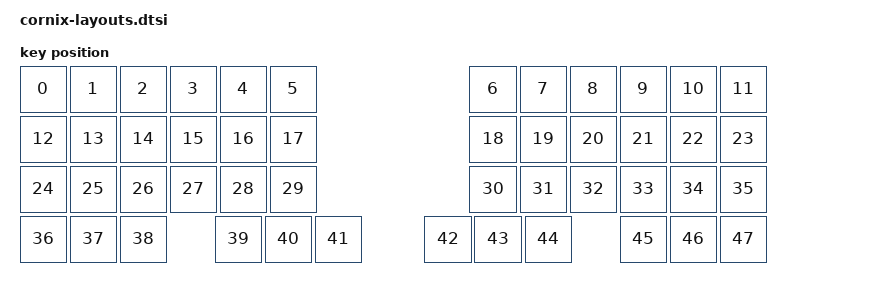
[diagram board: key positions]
#include <physical_layouts.dtsi>

/ {
    layout_0: layout_0 {
        compatible = "zmk,physical-layout";
        display-name = "LAYOUT";

        // leave for shields to select kscan
        // kscan = <&kscan0>;
        transform = <&default_transform>;

keys  //                     w   h    x    y     rot    rx    ry
            = <&key_physical_attrs 100 100    0    0       0     0     0>
            , <&key_physical_attrs 100 100  100    0       0     0     0>
            , <&key_physical_attrs 100 100  200    0       0     0     0>
            , <&key_physical_attrs 100 100  300    0       0     0     0>
            , <&key_physical_attrs 100 100  400    0       0     0     0>
            , <&key_physical_attrs 100 100  500    0       0     0     0>
            , <&key_physical_attrs 100 100  900    0       0     0     0>
            , <&key_physical_attrs 100 100 1000    0       0     0     0>
            , <&key_physical_attrs 100 100 1100    0       0     0     0>
            , <&key_physical_attrs 100 100 1200    0       0     0     0>
            , <&key_physical_attrs 100 100 1300    0       0     0     0>
            , <&key_physical_attrs 100 100 1400    0       0     0     0>
            , <&key_physical_attrs 100 100    0  100       0     0     0>
            , <&key_physical_attrs 100 100  100  100       0     0     0>
            , <&key_physical_attrs 100 100  200  100       0     0     0>
            , <&key_physical_attrs 100 100  300  100       0     0     0>
            , <&key_physical_attrs 100 100  400  100       0     0     0>
            , <&key_physical_attrs 100 100  500  100       0     0     0>
            , <&key_physical_attrs 100 100  900  100       0     0     0>
            , <&key_physical_attrs 100 100 1000  100       0     0     0>
            , <&key_physical_attrs 100 100 1100  100       0     0     0>
            , <&key_physical_attrs 100 100 1200  100       0     0     0>
            , <&key_physical_attrs 100 100 1300  100       0     0     0>
            , <&key_physical_attrs 100 100 1400  100       0     0     0>
            , <&key_physical_attrs 100 100    0  200       0     0     0>
            , <&key_physical_attrs 100 100  100  200       0     0     0>
            , <&key_physical_attrs 100 100  200  200       0     0     0>
            , <&key_physical_attrs 100 100  300  200       0     0     0>
            , <&key_physical_attrs 100 100  400  200       0     0     0>
            , <&key_physical_attrs 100 100  500  200       0     0     0>
            , <&key_physical_attrs 100 100  900  200       0     0     0>
            , <&key_physical_attrs 100 100 1000  200       0     0     0>
            , <&key_physical_attrs 100 100 1100  200       0     0     0>
            , <&key_physical_attrs 100 100 1200  200       0     0     0>
            , <&key_physical_attrs 100 100 1300  200       0     0     0>
            , <&key_physical_attrs 100 100 1400  200       0     0     0>
            , <&key_physical_attrs 100 100    0  300       0     0     0>
            , <&key_physical_attrs 100 100  100  300       0     0     0>
            , <&key_physical_attrs 100 100  200  300       0     0     0>
            , <&key_physical_attrs 100 100  390  300       0     0     0>
            , <&key_physical_attrs 100 100  490  300       0     0     0>
            , <&key_physical_attrs 100 100  590  300       0     0     0>
            , <&key_physical_attrs 100 100  810  300       0     0     0>
            , <&key_physical_attrs 100 100  910  300       0     0     0>
            , <&key_physical_attrs 100 100 1010  300       0     0     0>
            , <&key_physical_attrs 100 100 1200  300       0     0     0>
            , <&key_physical_attrs 100 100 1300  300       0     0     0>
            , <&key_physical_attrs 100 100 1400  300       0     0     0>
            ;
    };
 
    cornix_position_map {
        compatible = "zmk,physical-layout-position-map";

        complete;

        LAYOUT {
            physical-layout = <&layout_0>;
            positions
                = < 0  1  2  3  4  5  6  7  8  9 10 11>
                , <12 13 14 15 16 17 18 19 20 21 22 23>
                , <24 25 26 27 28 29 30 31 32 33 34 35>
                , <36 37 38 39 40 41 42 43 44 45 46 47>;
        };
    };
};


